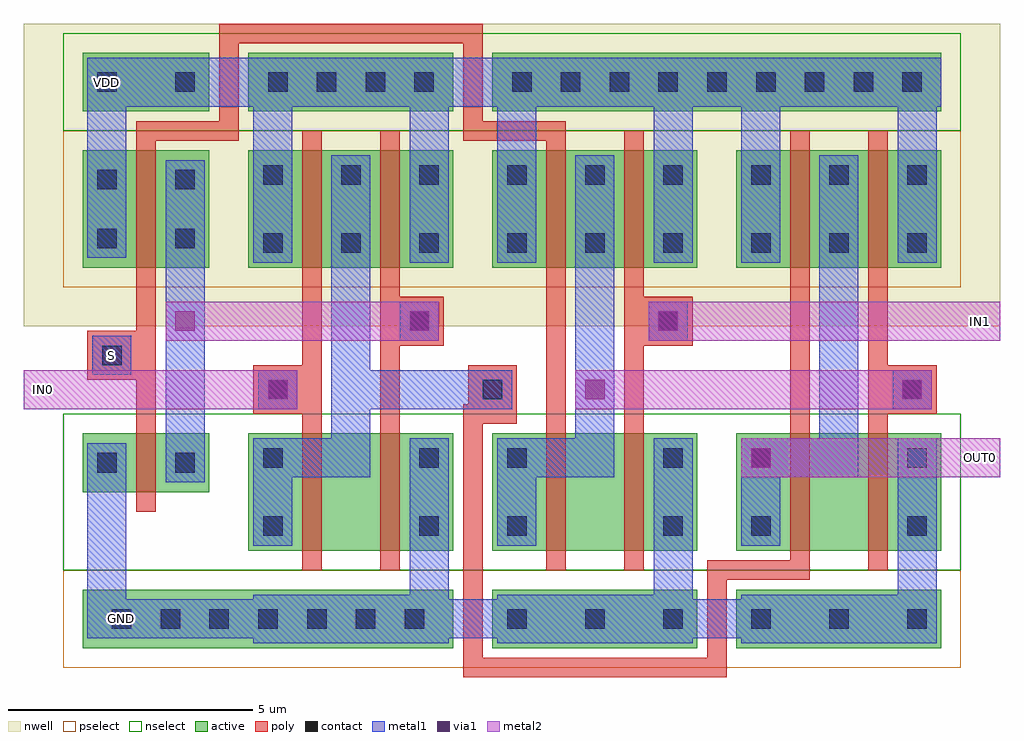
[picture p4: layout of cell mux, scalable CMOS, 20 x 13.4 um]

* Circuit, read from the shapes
.subckt mux GND IN0 IN1 OUT0 S VDD
M1 n1 S GND GND nfet w=1.2u l=0.4u
M2 n2 IN0 n3 GND nfet w=2.4u l=0.4u
M3 GND n1 n2 GND nfet w=2.4u l=0.4u
M4 n4 S n5 GND nfet w=2.4u l=0.4u
M5 GND IN1 n4 GND nfet w=2.4u l=0.4u
M6 n6 n3 OUT0 GND nfet w=2.4u l=0.4u
M7 GND n5 n6 GND nfet w=2.4u l=0.4u
M8 n1 S VDD VDD pfet w=2.4u l=0.4u
M9 n3 IN0 VDD VDD pfet w=2.4u l=0.4u
M10 VDD n1 n3 VDD pfet w=2.4u l=0.4u
M11 n5 S VDD VDD pfet w=2.4u l=0.4u
M12 VDD IN1 n5 VDD pfet w=2.4u l=0.4u
M13 OUT0 n3 VDD VDD pfet w=2.4u l=0.4u
M14 VDD n5 OUT0 VDD pfet w=2.4u l=0.4u
.ends

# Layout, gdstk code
import gdstk
lib = gdstk.Library(unit=1e-6, precision=1e-09)
def R(c, l, rs):  # rectangles x0, y0, x1, y1
    for r in rs: c.add(gdstk.rectangle(r[:2], r[2:], *l))
def A(c, l, x, y, w, h, nx, ny, dx, dy):  # array of equal rectangles
    R(c, l, [(x+i*dx, y+j*dy, x+i*dx+w, y+j*dy+h) for i in range(nx) for j in range(ny)])
contact = (25, 0)
nwell = (42, 0)
active = (43, 0)
pselect = (44, 0)
nselect = (45, 0)
poly = (46, 0)
metal1 = (49, 0)
via1 = (50, 0)
metal2 = (51, 0)

mux = lib.new_cell('mux')
A(mux, contact, -10.1, -5.8, 0.4, 0.4, 7, 1, 1, 0)
A(mux, contact, -7, 1.9, 0.4, 0.4, 3, 2, 1.6, 1.4)
A(mux, contact, -2, 1.9, 0.4, 0.4, 3, 2, 1.6, 1.4)
A(mux, contact, 3, 1.9, 0.4, 0.4, 3, 2, 1.6, 1.4)
A(mux, contact, -6.9, 5.2, 0.4, 0.4, 4, 1, 1, 0)
A(mux, contact, -1.9, 5.2, 0.4, 0.4, 9, 1, 1, 0)
R(mux, contact, [(-10.1,-5.8,-9.7,-5.4), (-2,-5.8,-1.6,-5.4), (-0.4,-5.8,0,-5.4), (-0.4,-5.8,0,-5.4), (1.2,-5.8,1.6,-5.4), (3,-5.8,3.4,-5.4), (4.6,-5.8,5,-5.4), (4.6,-5.8,5,-5.4), (6.2,-5.8,6.6,-5.4), (-7,-3.9,-6.6,-3.5), (-3.8,-3.9,-3.4,-3.5), (-2,-3.9,-1.6,-3.5), (1.2,-3.9,1.6,-3.5), (3,-3.9,3.4,-3.5), (6.2,-3.9,6.6,-3.5), (-10.4,-2.6,-10,-2.2), (-8.8,-2.6,-8.4,-2.2), (-7,-2.5,-6.6,-2.1), (-3.8,-2.5,-3.4,-2.1), (-2,-2.5,-1.6,-2.1), (1.2,-2.5,1.6,-2.1), (3,-2.5,3.4,-2.1), (6.2,-2.5,6.6,-2.1), (-6.9,-1.1,-6.5,-0.7), (-2.5,-1.1,-2.1,-0.7), (-2.5,-1.1,-2.1,-0.7), (6.1,-1.1,6.5,-0.7), (-10.3,-0.4,-9.9,0), (-4,0.3,-3.6,0.7), (1.1,0.3,1.5,0.7), (-10.4,2,-10,2.4), (-8.8,2,-8.4,2.4), (-10.4,3.2,-10,3.6), (-8.8,3.2,-8.4,3.6), (-10.4,5.2,-10,5.6), (-8.8,5.2,-8.4,5.6)])
R(mux, nwell, [(-11.9,0.4,8.1,6.6)])
A(mux, active, -7.3, -4.2, 4.2, 2.4, 3, 1, 5, 0)
R(mux, active, [(-10.7,-6.2,-7.3,-5), (-7.3,-6.2,-4.7,-5), (-5.7,-6.2,-3.1,-5), (-2.3,-6.2,0.3,-5), (-0.7,-6.2,1.9,-5), (2.7,-6.2,5.3,-5), (4.3,-6.2,6.9,-5), (-10.7,-3,-8.1,-1.8), (-10.7,1.6,-8.1,4), (-7.3,1.6,-4.7,4), (-7.3,1.6,-4.7,4), (-5.7,1.6,-3.1,4), (-2.3,1.6,0.3,4), (-2.3,1.6,0.3,4), (-0.7,1.6,1.9,4), (2.7,1.6,5.3,4), (2.7,1.6,5.3,4), (4.3,1.6,6.9,4), (-10.7,4.8,-8.1,6), (-7.3,4.8,-4.7,6), (-5.7,4.8,-3.1,6), (-2.3,4.8,0.3,6), (-0.7,4.8,2.7,6), (2.7,4.8,5.3,6), (4.3,4.8,6.9,6)])
R(mux, pselect, [(-11.1,-6.6,-7.7,-4.6), (-7.7,-6.6,-4.3,-4.6), (-6.1,-6.6,-2.7,-4.6), (-2.7,-6.6,0.7,-4.6), (-1.1,-6.6,2.3,-4.6), (2.3,-6.6,5.7,-4.6), (3.9,-6.6,7.3,-4.6), (-11.1,1.2,-7.7,4.4), (-7.7,1.2,-4.3,4.4), (-6.1,1.2,-2.7,4.4), (-2.7,1.2,0.7,4.4), (-1.1,1.2,2.3,4.4), (2.3,1.2,5.7,4.4), (3.9,1.2,7.3,4.4)])
A(mux, nselect, -7.7, -4.6, 5, 3.2, 3, 1, 5, 0)
R(mux, nselect, [(-11.1,-4.6,-7.7,-1.4), (-11.1,4.4,-7.7,6.4), (-7.7,4.4,-4.3,6.4), (-6.1,4.4,-2.7,6.4), (-2.7,4.4,0.7,6.4), (-1.1,4.4,2.3,6.4), (2.3,4.4,5.7,6.4), (3.9,4.4,7.3,6.4)])
R(mux, poly, [(-2.9,-6.8,-2.5,-1.2), (-2.9,-6.8,2.5,-6.4), (2.1,-6.8,2.5,-4.4), (2.1,-4.8,4.2,-4.4), (-6.2,-4.6,-5.8,-1.3), (-4.6,-4.6,-4.2,-1.3), (-1.2,-4.6,-0.8,-1.3), (0.4,-4.6,0.8,-1.3), (3.8,-4.6,4.2,-1.3), (5.4,-4.6,5.8,-1.3), (-9.6,-3.4,-9.2,-1.4), (-9.6,-3,-9.2,1.2), (-6.2,-2.5,-5.8,1.2), (-4.6,-2.5,-4.2,1.2), (-1.2,-2.5,-0.8,1.2), (0.4,-2.5,0.8,1.2), (3.8,-2.5,4.2,1.2), (5.4,-2.5,5.8,1.2), (-2.9,-1.6,-1.8,-1.3), (-7.2,-1.4,-6.2,-0.4), (-2.8,-1.4,-1.8,-0.4), (5.8,-1.4,6.8,-0.4), (-10.6,-0.7,-9.6,0.3), (-4.3,0,-3.3,1), (0.8,0,1.8,1), (-9.6,1.2,-9.2,4.4), (-6.2,1.2,-5.8,4.4), (-4.6,1.2,-4.2,4.4), (-1.2,1.2,-0.8,4.4), (0.4,1.2,0.8,4.4), (3.8,1.2,4.2,4.4), (5.4,1.2,5.8,4.4), (-9.6,4.2,-7.5,4.6), (-7.9,4.2,-7.5,6.6), (-2.9,4.2,-2.5,6.6), (-2.9,4.2,-0.8,4.6), (-7.9,6.2,-2.5,6.6)])
A(mux, metal1, -4, -6.1, 0.8, 4.2, 3, 1, 5, 0)
A(mux, metal1, -7.2, -4.1, 0.8, 1.4, 3, 1, 5, 0)
A(mux, metal1, -7.2, -2.7, 2.4, 0.8, 3, 1, 5, 0)
A(mux, metal1, -5.6, -2.7, 0.8, 6.6, 3, 1, 5, 0)
R(mux, metal1, [(-7.2,-6.1,-4.2,-5.1), (-6.2,-6.1,-3.2,-5.1), (-2.2,-6.1,0.8,-5.1), (-1.2,-6.1,1.8,-5.1), (2.8,-6.1,5.8,-5.1), (3.8,-6.1,6.8,-5.1), (-10.6,-6,-9.8,-2), (-10.6,-6,6.8,-5.2), (-9,-2.8,-8.2,3.8), (-7.1,-1.3,-6.3,-0.5), (-7.1,-1.3,-6.3,-0.5), (-5.6,-1.3,-1.9,-0.5), (-2.7,-1.3,-1.9,-0.5), (5.9,-1.3,6.7,-0.5), (5.9,-1.3,6.7,-0.5), (-10.5,-0.6,-9.7,0.2), (-4.2,0.1,-3.4,0.9), (-4.2,0.1,-3.4,0.9), (0.9,0.1,1.7,0.9), (0.9,0.1,1.7,0.9), (-7.2,1.7,-6.4,5.9), (-4,1.7,-3.2,5.9), (-2.2,1.7,-1.4,5.9), (1,1.7,1.8,5.9), (2.8,1.7,3.6,5.9), (6,1.7,6.8,5.9), (-10.6,1.8,-9.8,5.8), (-10.6,4.9,6.9,5.9), (-7.2,4.9,-4.2,5.9), (-6.2,4.9,-3.2,5.9), (-2.2,4.9,0.8,5.9), (-1.2,4.9,1.8,5.9), (2.8,4.9,5.8,5.9), (3.8,4.9,6.8,5.9)])
A(mux, via1, -6.9, -1.1, 0.4, 0.4, 3, 1, 6.5, 0)
R(mux, via1, [(3,-2.5,3.4,-2.1), (-8.8,0.3,-8.4,0.7), (-4,0.3,-3.6,0.7), (1.1,0.3,1.5,0.7)])
R(mux, metal2, [(2.8,-2.7,8.1,-1.9), (-11.9,-1.3,-6.3,-0.5), (-0.6,-1.3,6.7,-0.5), (-9,0.1,-3.4,0.9), (0.9,0.1,8.1,0.9)])
mux.add(gdstk.Label('GND', (-9.9,-5.6), layer=75, texttype=0))
mux.add(gdstk.Label('VDD', (-10.2,5.4), layer=75, texttype=0))
mux.add(gdstk.Label('S', (-10.1,-0.2), layer=75, texttype=0))
mux.add(gdstk.Label('IN1', (7.7,0.5), layer=76, texttype=0))
mux.add(gdstk.Label('OUT0', (7.7,-2.3), layer=76, texttype=0))
mux.add(gdstk.Label('IN0', (-11.5,-0.9), layer=76, texttype=0))

lib.write_gds('mux.gds')
